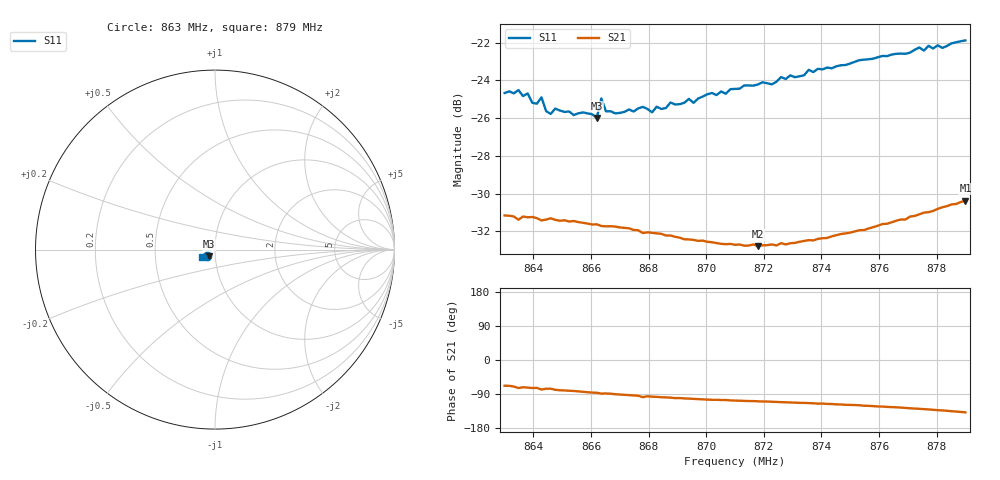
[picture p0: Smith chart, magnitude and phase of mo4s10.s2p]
# HZ S RI R 50
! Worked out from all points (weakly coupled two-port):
!   101 points, 863 MHz to 879 MHz, reference 50 ohm
!   highest |S21| = -30.37 dB at 879 MHz (marker M1); lowest = -32.8 dB at 871.8 MHz (marker M2)
!   lowest |S11| = -26.0 dB at 866.2 MHz (marker M3), VSWR 1.11, Z = 46.6 - j3.49 ohm
!   |S11| at or under -10 dB: start of sweep to end of sweep
!   S12 and S22 are empty: the file has one direction only
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8.63e8  -0.0443 -0.0381  0.0104 -0.0256  0 0  0 0
8.6348e8  -0.045 -0.0389  0.00747 -0.0259  0 0  0 0
8.6412e8  -0.0407 -0.0367  0.00771 -0.0261  0 0  0 0
8.6428e8  -0.0418 -0.0387  0.00559 -0.0263  0 0  0 0
8.6444e8  -0.0383 -0.0357  0.00668 -0.0261  0 0  0 0
8.646e8  -0.0364 -0.0364  0.0067 -0.0264  0 0  0 0
8.6476e8  -0.0388 -0.0363  0.00533 -0.0264  0 0  0 0
8.654e8  -0.0357 -0.0365  0.00386 -0.0265  0 0  0 0
8.6572e8  -0.0345 -0.0388  0.00284 -0.0263  0 0  0 0
8.662e8  -0.0335 -0.0374  0.00162 -0.0262  0 0  0 0
8.6636e8  -0.0399 -0.04  0.00064 -0.0259  0 0  0 0
8.6652e8  -0.0339 -0.0397  0.000734 -0.0259  0 0  0 0
8.6684e8  -0.0332 -0.0395  -0.000174 -0.0259  0 0  0 0
8.6844e8  -0.0316 -0.0426  -0.00358 -0.0245  0 0  0 0
8.6876e8  -0.0324 -0.0446  -0.00395 -0.0242  0 0  0 0
8.6956e8  -0.0329 -0.0441  -0.00519 -0.0233  0 0  0 0
8.7004e8  -0.0346 -0.0466  -0.0059 -0.0228  0 0  0 0
8.71e8  -0.0361 -0.0478  -0.00678 -0.0221  0 0  0 0
8.718e8  -0.0387 -0.0479  -0.00751 -0.0217  0 0  0 0
8.7372e8  -0.0438 -0.0499  -0.00977 -0.0217  0 0  0 0
8.7644e8  -0.0575 -0.0464  -0.015 -0.0219  0 0  0 0
8.79e8  -0.0707 -0.0387  -0.0226 -0.0202  0 0  0 0
